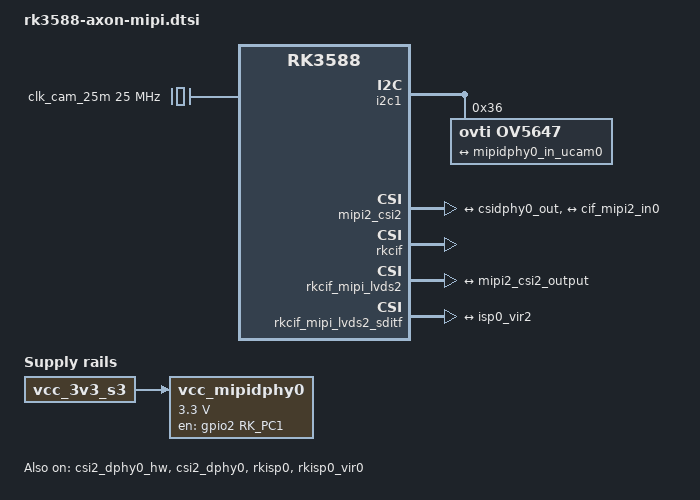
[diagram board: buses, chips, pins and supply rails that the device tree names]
// SPDX-License-Identifier: (GPL-2.0+ OR MIT)
/*
 * Copyright (C) 2023 Vicharak India
 */

/ {
	compatible = "vicharak,rk3588-axon", "rockchip,rk3588";

	clk_cam_25m: external-camera-clock-24m {
		status = "okay";
		compatible = "fixed-clock";
		clock-frequency = <25000000>;
		clock-output-names = "clk_cam_25m";
		#clock-cells = <0>;
	};

	vcc_mipidphy0: vcc-mipi-dphy0 {
		compatible = "regulator-fixed";
		regulator-name = "vcc_mipidphy0";
		regulator-min-microvolt = <3300000>;
		regulator-max-microvolt = <3300000>;
		gpio = <&gpio2 RK_PC1 GPIO_ACTIVE_HIGH>;
		pinctrl-names = "default";
		pinctrl-0 = <&cam_pwdn_gpio>;
		regulator-always-on;
		regulator-boot-on;
		enable-active-high;
		vin-supply = <&vcc_3v3_s3>;
		regulator-state-mem {
			regulator-off-in-suspend;
		};
	};
};

&i2c1 {
	ov5647: ov5647@36 {
		status = "okay";
		compatible = "ovti,ov5647";
		reg = <0x36>;
		clocks = <&clk_cam_25m>;
		clock-names = "xvclk";
		pinctrl-names = "default";
		pinctrl-0 = <&cam_clkout0>;
		rockchip,camera-module-index = <1>;
		rockchip,camera-module-facing = "front";
		rockchip,camera-module-name = "ov5647";
		rockchip,camera-module-lens-name = "default";

		port {
			ov5647_out0: endpoint {
				remote-endpoint = <&mipidphy0_in_ucam0>;
				data-lanes = <1 2>;
			};
		};
	};
};

// MIPI CSI: {{{
&csi2_dphy0_hw {
	status = "okay";
};

&csi2_dphy0 {
	status = "okay";

	ports {
		#address-cells = <1>;
		#size-cells = <0>;

		port@0 {
			reg = <0>;
			#address-cells = <1>;
			#size-cells = <0>;

			mipidphy0_in_ucam0: endpoint@1 {
				reg = <1>;
				remote-endpoint = <&ov5647_out0>;
				data-lanes = <1 2>;
			};
		};

		port@1 {
			reg = <1>;
			#address-cells = <1>;
			#size-cells = <0>;

			csidphy0_out: endpoint@0 {
				reg = <0>;
				remote-endpoint = <&mipi2_csi2_input>;
			};
		};
	};
};

&mipi2_csi2 {
	status = "okay";

	ports {
		#address-cells = <1>;
		#size-cells = <0>;

		port@0 {
			reg = <0>;
			#address-cells = <1>;
			#size-cells = <0>;

			mipi2_csi2_input: endpoint@1 {
				reg = <1>;
				remote-endpoint = <&csidphy0_out>;
			};
		};

		port@1 {
			reg = <1>;
			#address-cells = <1>;
			#size-cells = <0>;

			mipi2_csi2_output: endpoint@0 {
				reg = <0>;
				remote-endpoint = <&cif_mipi2_in0>;
			};
		};
	};
};

&rkcif {
	status = "okay";
};

&rkcif_mipi_lvds2 {
	status = "okay";

	port {
		cif_mipi2_in0: endpoint {
			remote-endpoint = <&mipi2_csi2_output>;
		};
	};
};

&rkcif_mipi_lvds2_sditf {
	status = "okay";

	port {
		mipi_lvds2_sditf: endpoint {
			remote-endpoint = <&isp0_vir2>;
		};
	};
};
// }}}

&rkcif_mmu {
	status = "okay";
};

// ISP: {{{
&rkisp0 {
	status = "okay";
};

&isp0_mmu {
	status = "okay";
};

&rkisp0_vir0 {
	status = "okay";

	port {
		#address-cells = <1>;
		#size-cells = <0>;

		isp0_vir2: endpoint@0 {
			reg = <0>;
			remote-endpoint = <&mipi_lvds2_sditf>;
		};
	};
};
// }}}

&pinctrl {
	camera {
		cam_clkout0: cam-clkout0 {
			rockchip,pins = <1 RK_PD6 RK_FUNC_GPIO &pcfg_pull_none>;
		};

		cam_pwdn_gpio: cam-pwdn-gpio {
			rockchip,pins = <2 RK_PC1 RK_FUNC_GPIO &pcfg_pull_none>;
		};
	};
};
